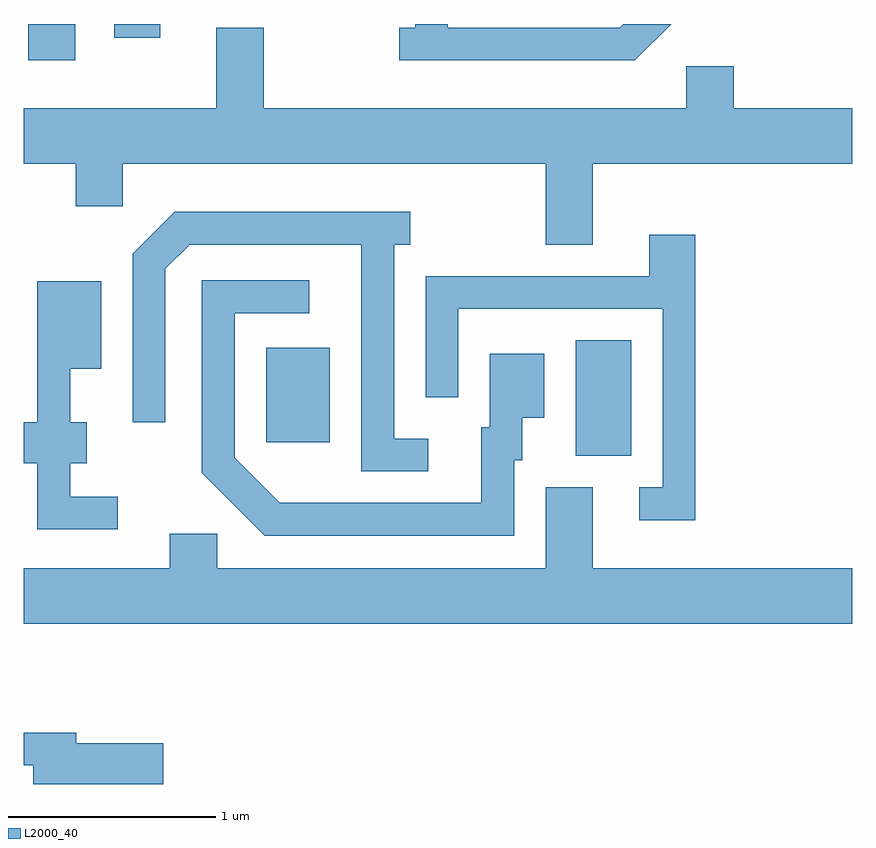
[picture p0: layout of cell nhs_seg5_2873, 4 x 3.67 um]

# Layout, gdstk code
import gdstk
lib = gdstk.Library(unit=1e-6, precision=1e-09)
def R(c, l, rs):  # rectangles x0, y0, x1, y1
    for r in rs: c.add(gdstk.rectangle(r[:2], r[2:], *l))
def P(c, l, *ps):  # polygons
    for p in ps: c.add(gdstk.Polygon(p, *l))
L2000_40 = (2000, 40)

nhs_seg5_2873 = lib.new_cell('nhs_seg5_2873')
R(nhs_seg5_2873, L2000_40, [(272.276,1521.986,272.544,1522.544), (270.781,1522.051,271.089,1522.509), (269.631,1523.896,269.859,1524.072), (270.046,1524.006,270.269,1524.072)])
P(nhs_seg5_2873, L2000_40, [(272.737,1524.072),(272.507,1524.072),(272.489,1524.054),(271.659,1524.054),(271.659,1524.072),(271.501,1524.072),(271.501,1524.054),(271.423,1524.054),(271.423,1523.896),(272.562,1523.896)],
  [(272.359,1523.396),(273.611,1523.396),(273.611,1523.664),(273.039,1523.664),(273.039,1523.869),(272.811,1523.869),(272.811,1523.664),(270.769,1523.664),(270.769,1524.054),(270.541,1524.054),(270.541,1523.664),(269.611,1523.664),(269.611,1523.396),(269.861,1523.396),(269.861,1523.191),(270.089,1523.191),(270.089,1523.396),(272.131,1523.396),(272.131,1523.006),(272.359,1523.006)],
  [(271.563,1522.069),(271.399,1522.069),(271.399,1523.006),(271.478,1523.006),(271.478,1523.164),(270.339,1523.164),(270.136,1522.962),(270.136,1522.148),(270.294,1522.148),(270.294,1522.889),(270.412,1523.006),(271.241,1523.006),(271.241,1521.911),(271.563,1521.911)],
  [(272.854,1523.054),(272.631,1523.054),(272.631,1522.854),(271.551,1522.854),(271.551,1522.268),(271.709,1522.268),(271.709,1522.696),(272.696,1522.696),(272.696,1521.834),(272.583,1521.834),(272.583,1521.676),(272.854,1521.676)],
  [(271.979,1521.966),(272.019,1521.966),(272.019,1522.171),(272.124,1522.171),(272.124,1522.479),(271.861,1522.479),(271.861,1522.124),(271.821,1522.124),(271.821,1521.759),(270.847,1521.759),(270.629,1521.977),(270.629,1522.676),(270.988,1522.676),(270.988,1522.834),(270.471,1522.834),(270.471,1521.904),(270.774,1521.601),(271.979,1521.601)],
  [(270.063,1521.789),(269.834,1521.789),(269.834,1521.951),(269.914,1521.951),(269.914,1522.149),(269.834,1522.149),(269.834,1522.406),(269.984,1522.406),(269.984,1522.829),(269.676,1522.829),(269.676,1522.149),(269.611,1522.149),(269.611,1521.951),(269.676,1521.951),(269.676,1521.631),(270.063,1521.631)],
  [(273.611,1521.444),(272.359,1521.444),(272.359,1521.834),(272.131,1521.834),(272.131,1521.444),(270.544,1521.444),(270.544,1521.609),(270.316,1521.609),(270.316,1521.444),(269.611,1521.444),(269.611,1521.176),(273.611,1521.176)],
  [(270.284,1520.599),(269.864,1520.599),(269.864,1520.649),(269.611,1520.649),(269.611,1520.491),(269.656,1520.491),(269.656,1520.401),(270.284,1520.401)])

lib.write_gds('nhs_seg5_2873.gds')
